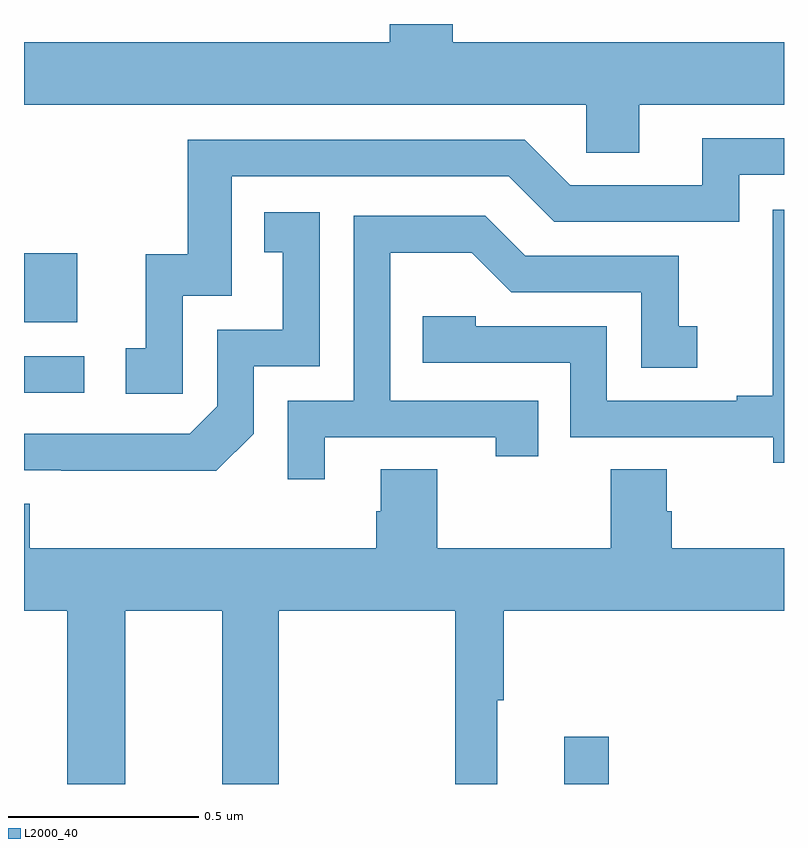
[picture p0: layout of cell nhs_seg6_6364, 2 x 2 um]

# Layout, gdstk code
import gdstk
lib = gdstk.Library(unit=1e-6, precision=1e-09)
def R(c, l, rs):  # rectangles x0, y0, x1, y1
    for r in rs: c.add(gdstk.rectangle(r[:2], r[2:], *l))
def P(c, l, *ps):  # polygons
    for p in ps: c.add(gdstk.Polygon(p, *l))
L2000_40 = (2000, 40)

nhs_seg6_6364 = lib.new_cell('nhs_seg6_6364')
R(nhs_seg6_6364, L2000_40, [(195.422,993.5,195.539,993.625), (194,994.53,194.158,994.626), (194,994.715,194.14,994.897)])
P(nhs_seg6_6364, L2000_40, [(195.619,995.288),(196,995.288),(196,995.452),(195.128,995.452),(195.128,995.5),(194.963,995.5),(194.963,995.452),(194,995.452),(194,995.288),(195.48,995.288),(195.48,995.161),(195.619,995.161)],
  [(194.418,994.785),(194.547,994.785),(194.547,995.1),(195.276,995.1),(195.396,994.98),(195.882,994.98),(195.882,995.103),(196,995.103),(196,995.199),(195.785,995.199),(195.785,995.076),(195.438,995.076),(195.318,995.196),(194.431,995.196),(194.431,994.894),(194.321,994.894),(194.321,994.647),(194.268,994.647),(194.268,994.527),(194.418,994.527)],
  [(196,995.011),(195.97,995.011),(195.97,994.805),(195.971,994.805),(195.971,994.522),(195.875,994.522),(195.875,994.509),(195.534,994.509),(195.534,994.704),(195.189,994.704),(195.189,994.731),(195.049,994.731),(195.049,994.608),(195.438,994.608),(195.438,994.413),(195.972,994.413),(195.972,994.345),(196,994.345)],
  [(194.604,994.422),(194.604,994.599),(194.778,994.599),(194.778,995.005),(194.632,995.005),(194.632,994.899),(194.681,994.899),(194.681,994.695),(194.508,994.695),(194.508,994.494),(194.436,994.422),(194,994.422),(194,994.326),(194.098,994.326),(194.098,994.325),(194.506,994.325)],
  [(194.791,994.413),(195.242,994.413),(195.242,994.362),(195.353,994.362),(195.353,994.509),(194.964,994.509),(194.964,994.898),(195.178,994.898),(195.282,994.794),(195.624,994.794),(195.624,994.596),(195.772,994.596),(195.772,994.705),(195.723,994.705),(195.723,994.89),(195.319,994.89),(195.214,994.995),(194.868,994.995),(194.868,994.509),(194.694,994.509),(194.694,994.302),(194.791,994.302)],
  [(195.087,994.328),(194.939,994.328),(194.939,994.218),(194.927,994.218),(194.927,994.12),(194.015,994.12),(194.015,994.237),(194,994.237),(194,993.956),(194.114,993.956),(194.114,993.5),(194.266,993.5),(194.266,993.956),(194.522,993.956),(194.522,993.5),(194.67,993.5),(194.67,993.956),(195.135,993.956),(195.135,993.5),(195.245,993.5),(195.245,993.72),(195.263,993.72),(195.263,993.956),(196,993.956),(196,994.12),(195.704,994.12),(195.704,994.218),(195.691,994.218),(195.691,994.328),(195.544,994.328),(195.544,994.12),(195.087,994.12)])

lib.write_gds('nhs_seg6_6364.gds')
